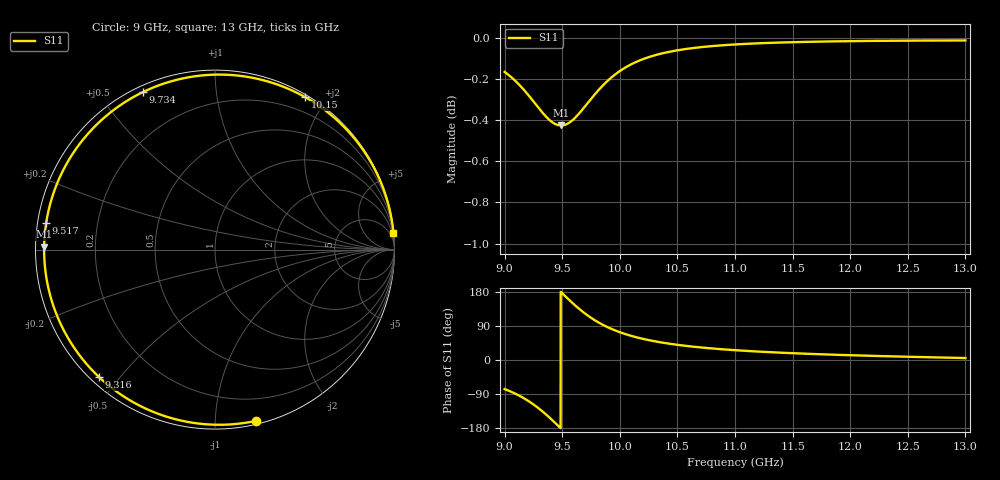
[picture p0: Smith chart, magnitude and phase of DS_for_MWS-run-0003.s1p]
! TOUCHSTONE file generated by CST DESIGN STUDIO
! Date and time: Tue Feb  4 17:55:15 2025
! Project name: C:\Work\MatlabApps\UnitCellOptimizationMatlab\CST\unitcell.cst
! Tree item: Tasks\Sweep1\SPara1\S-Parameters
! Header version: 2024
! Port assignment regex: !\s*Touchstone port\s*([0-9]+)\s*=\s*(CST MWS port|CST DES external port|CST DES block port)\s*(.+)\s* \(\"(.*)\"\)(\s*mode\s*([0-9]+))?.*
! Touchstone port assignment:
! Touchstone port 1 = CST DES external port 1 ("")
# GHz S MA R 50
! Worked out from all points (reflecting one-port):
!   4001 points, 9 GHz to 13 GHz, reference 50 ohm
!   lowest |S11| = -0.4 dB at 9.49 GHz (marker M1), VSWR 40.80, Z = 1.23 + j0.438 ohm
!   phase of S11 starts at -77 deg and turns -278 deg over the sweep
!   S11 on the Smith chart (normalised r, x): 9 GHz: 0.02, -1.26; 9.316 GHz: 0.02, -0.44; 9.517 GHz: 0.02, +0.08; 9.734 GHz: 0.03, +0.64; 10.15 GHz: 0.03, +1.75; 13 GHz: 0, +22
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9  0.9811 -76.7
9.081  0.9769 -87.1
9.181  0.9704 -103.4
9.251  0.965 -117.3
9.316  0.9599 -132.5
9.362  0.9567 -144.3
9.411  0.954 -157.9
9.451  0.9526 -169.5
9.49  0.9521 179.0
9.5  0.9522 176.0
9.517  0.9524 171.0
9.57  0.954 155.7
9.63  0.9574 139.3
9.681  0.9611 126.6
9.734  0.9652 114.7
9.788  0.9692 103.9
9.848  0.9734 93.6
9.923  0.9779 82.6
10  0.9816 73.4
10.151  0.9869 59.4
10.309  0.9904 49.1
10.5  0.9931 40.0
10.722  0.9949 32.6
11  0.9963 25.9
11.5  0.9976 17.9
12  0.9982 12.6
12.5  0.9984 8.5
13  0.9985 5.2
